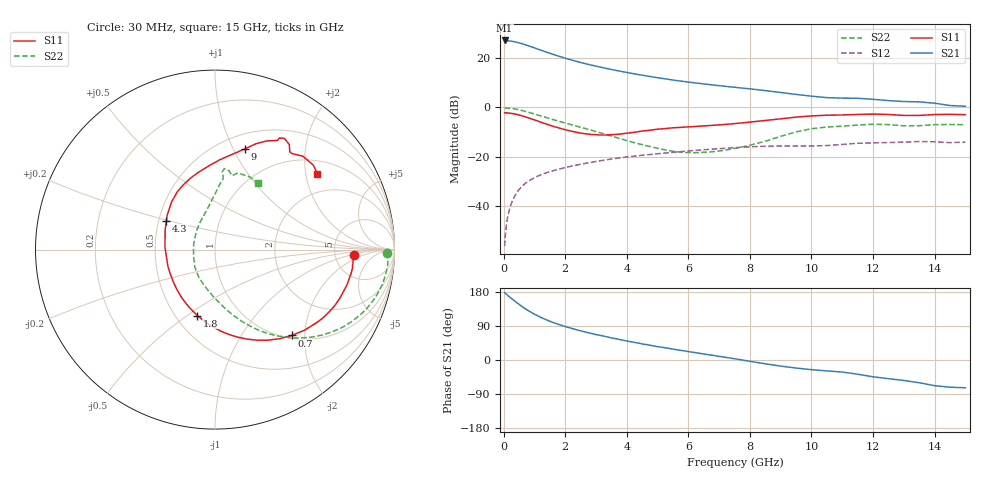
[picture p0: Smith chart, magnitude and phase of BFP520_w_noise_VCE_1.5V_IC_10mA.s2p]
! Infineon Technologies  Discrete & RF Semiconductors
! BFP520
! VCE =  1.5 V,  IC =  10 mA
! Common Emitter S-Parameters:  Oct 2015
# GHz  S  MA  R  50
!  f  S11  S21  S12  S22
! GHz  MAG  ANG  MAG  ANG  MAG  ANG  MAG  ANG
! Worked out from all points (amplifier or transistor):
!   109 points, 30 MHz to 15 GHz, reference 50 ohm
!   highest |S21| = 27.2 dB at 30 MHz (marker M1)
!   |S21| within 3 dB of that: start of sweep to 995.9 MHz
!   unconditionally stable (mu >= 1): 3.409 GHz to end of sweep
!   at 450 MHz: K = 0.22, MSG = 30.3 dB, |S12| = -34.2 dB
!   at 4 GHz: K = 1.06, MAG = 15.6 dB, |S12| = -20.2 dB
!   at 15 GHz: K = 1.30, MAG = 4.0 dB, |S12| = -14.1 dB
!   lowest NFmin = 1.53 dB at 900 MHz
!   S11 on the Smith chart (normalised r, x): 30 MHz: 7.66, -1.08; 700 MHz: 1.06, -1.72; 1.8 GHz: 0.64, -0.55; 4.3 GHz: 0.55, +0.20; 9 GHz: 0.65, +1.11; 15 GHz: 1.36, +2.33
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0.03  0.7731 -2.1  22.99 177.6  0.0015 90.8  0.9609 -1.0
0.05  0.7735 -3.4  22.8 175.8  0.0023 92.9  0.9637 -2.0
0.07  0.771 -5.1  22.91 174.5  0.0032 88.8  0.9655 -3.0
0.2  0.7619 -14.6  22.44 165.9  0.009 83.4  0.9578 -9.6
0.4  0.7242 -28.7  21.25 152.9  0.0173 76.8  0.9194 -19.0
0.6  0.672 -41.8  19.68 140.9  0.0249 71.1  0.8624 -27.6
0.7  0.6423 -48.1  18.81 135.4  0.0283 68.6  0.8304 -31.5
0.9  0.5843 -59.8  17.08 125.5  0.0344 64.3  0.7652 -38.4
1.2  0.5024 -75.8  14.66 112.8  0.0423 59.3  0.6725 -47.1
1.5  0.4338 -90.7  12.62 102.3  0.0492 55.6  0.5912 -54.4
1.8  0.3808 -105.0  10.95 93.6  0.0555 52.7  0.5215 -60.5
2.2  0.3281 -123.9  9.217 83.5  0.0637 49.3  0.4444 -67.8
2.6  0.2937 -142.4  7.901 74.8  0.0716 46.2  0.3785 -74.6
3.5  0.279 177.2  5.897 58.3  0.089 38.9  0.2607 -92.3
4.3  0.3149 149.2  4.746 45.7  0.1028 32.0  0.1876 -115.0
5.1  0.3639 130.2  3.923 34.0  0.1154 25.6  0.1428 -142.8
6.1  0.4043 114.8  3.214 21.0  0.1313 17.5  0.1197 -178.5
7.6  0.4735 92.8  2.527 2.0  0.1528 4.3  0.1499 131.6
9  0.585 73.5  2.008 -16.1  0.1634 -9.5  0.2576 96.1
10.5  0.6927 61.3  1.578 -28.8  0.1672 -17.9  0.3977 83.4
13  0.6859 52.6  1.316 -54.0  0.1967 -38.2  0.4221 77.1
15  0.7103 36.6  1.054 -73.3  0.1963 -54.1  0.4442 57.0
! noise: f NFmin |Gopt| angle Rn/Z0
0.45  1.55  0.27  1  0.29
0.9  1.53  0.25  5  0.31
1.9  1.71  0.23  12  0.27
2.4  1.73  0.19  24  0.27
3.5  1.66  0.17  46  0.26
